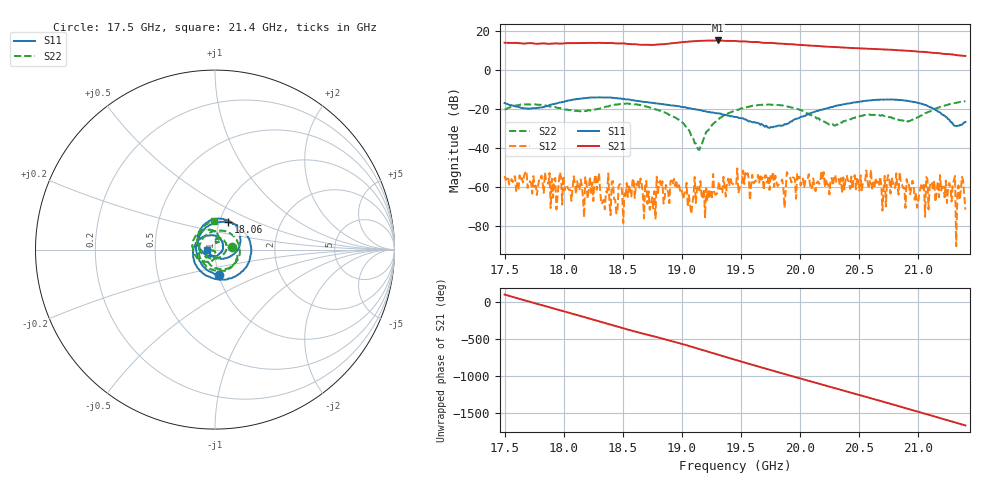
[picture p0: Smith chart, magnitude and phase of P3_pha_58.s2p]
!Created with skrf (http://scikit-rf.org).
# GHz S RI R 50.0
!freq ReS11 ImS11 ReS21 ImS21 ReS12 ImS12 ReS22 ImS22
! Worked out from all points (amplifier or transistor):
!   401 points, 17.5 GHz to 21.4 GHz, reference 50 ohm
!   highest |S21| = 15.4 dB at 19.3 GHz (marker M1)
!   |S21| within 3 dB of that: start of sweep to 20.18 GHz
!   unconditionally stable (mu >= 1): start of sweep to end of sweep
!   at 18.14 GHz: K = 60.76, MAG = 14.2 dB, |S12| = -56.1 dB
!   at 19.45 GHz: K = 73.51, MAG = 15.2 dB, |S12| = -58.6 dB
!   at 21.4 GHz: K = 801.13, MAG = 7.5 dB, |S12| = -71.7 dB
!   S11 on the Smith chart (normalised r, x): 17.5 GHz: 1.00, -0.29; 18.06 GHz: 1.10, +0.35; 21.4 GHz: 0.91, -0.01
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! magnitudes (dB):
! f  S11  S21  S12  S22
! 17.5 GHz  -16.8  14.2  -54.3  -20.2
! 18.06 GHz  -15.4  13.9  -61.4  -20.5
! 18.15 GHz  -14.5  14.0  -59.0  -20.9
! 18.28 GHz  -13.9  14.1  -61.4  -20.0
! 18.33 GHz  -14.0  14.1  -67.9  -19.3
! 18.45 GHz  -14.3  13.8  -73.6  -17.7
! 18.64 GHz  -15.9  13.2  -60.4  -17.8
! 18.76 GHz  -16.7  13.1  -71.1  -19.7
! 18.81 GHz  -17.1  13.3  -57.6  -20.7
! 18.95 GHz  -18.3  14.1  -56.5  -24.7
! 19.07 GHz  -19.5  14.9  -69.3  -31.9
! 19.15 GHz  -20.4  15.1  -61.7  -41.0
! 19.3 GHz  -22.2  15.4  -62.8  -25.4
! 19.45 GHz  -24.0  15.1  -58.6  -20.6
! 19.75 GHz  -29.2  14.2  -53.7  -17.7
! 20.1 GHz  -21.7  12.7  -59.9  -23.3
! 20.76 GHz  -15.0  10.6  -56.4  -24.2
! 20.99 GHz  -16.6  9.7  -70.7  -24.3
! 21.12 GHz  -19.3  9.0  -57.9  -20.6
! 21.34 GHz  -28.5  7.7  -59.2  -16.5
! 21.36 GHz  -28.0  7.6  -61.9  -16.3
! 21.4 GHz  -26.6  7.4  -71.7  -15.9
